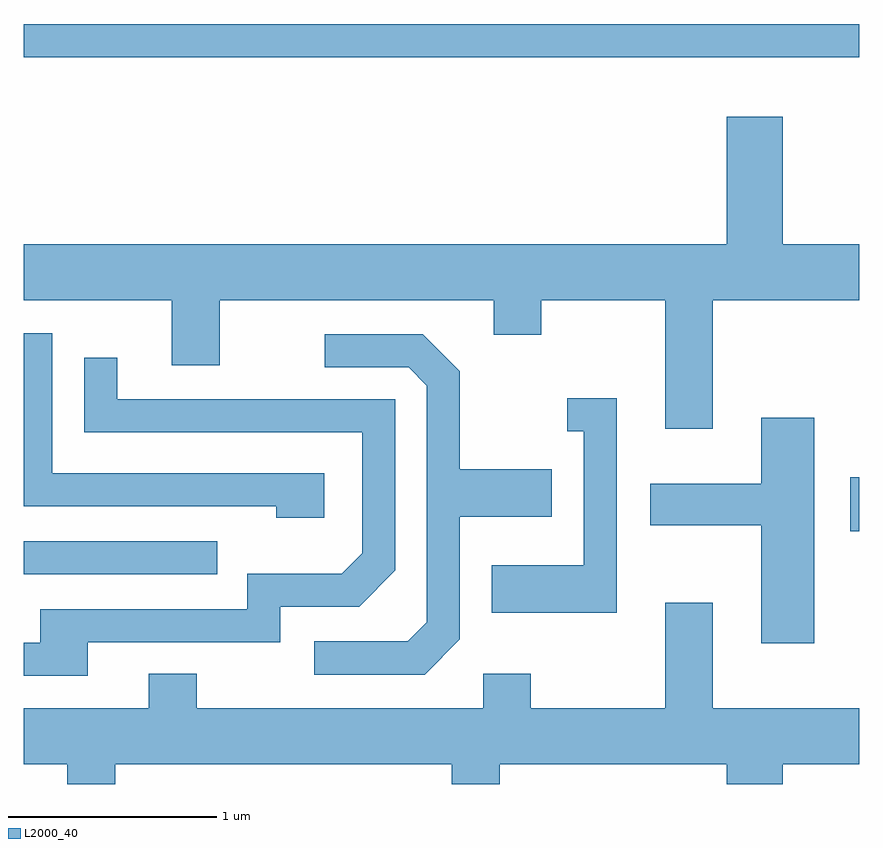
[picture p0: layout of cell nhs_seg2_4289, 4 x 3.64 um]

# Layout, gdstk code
import gdstk
lib = gdstk.Library(unit=1e-6, precision=1e-09)
def R(c, l, rs):  # rectangles x0, y0, x1, y1
    for r in rs: c.add(gdstk.rectangle(r[:2], r[2:], *l))
def P(c, l, *ps):  # polygons
    for p in ps: c.add(gdstk.Polygon(p, *l))
L2000_40 = (2000, 40)

nhs_seg2_4289 = lib.new_cell('nhs_seg2_4289')
R(nhs_seg2_4289, L2000_40, [(311.611,1024.806,312.538,1024.964), (315.566,1025.011,315.611,1025.269), (311.611,1027.281,315.611,1027.439)])
P(nhs_seg2_4289, L2000_40, [(314.909,1026.116),(315.611,1026.116),(315.611,1026.384),(315.244,1026.384),(315.244,1026.994),(314.976,1026.994),(314.976,1026.384),(311.611,1026.384),(311.611,1026.116),(312.321,1026.116),(312.321,1025.806),(312.549,1025.806),(312.549,1026.116),(313.861,1026.116),(313.861,1025.951),(314.089,1025.951),(314.089,1026.116),(314.681,1026.116),(314.681,1025.501),(314.909,1025.501)],
  [(313.049,1025.289),(311.749,1025.289),(311.749,1025.959),(311.611,1025.959),(311.611,1025.131),(312.821,1025.131),(312.821,1025.076),(313.049,1025.076)],
  [(313.699,1024.494),(313.699,1025.081),(314.139,1025.081),(314.139,1025.309),(313.699,1025.309),(313.699,1025.777),(313.522,1025.954),(313.053,1025.954),(313.053,1025.796),(313.454,1025.796),(313.541,1025.709),(313.541,1024.577),(313.449,1024.484),(313.003,1024.484),(313.003,1024.326),(313.532,1024.326)],
  [(311.919,1024.481),(312.839,1024.481),(312.839,1024.651),(313.217,1024.651),(313.389,1024.824),(313.389,1025.644),(312.059,1025.644),(312.059,1025.843),(311.901,1025.843),(311.901,1025.486),(313.231,1025.486),(313.231,1024.907),(313.134,1024.809),(312.681,1024.809),(312.681,1024.639),(311.691,1024.639),(311.691,1024.479),(311.611,1024.479),(311.611,1024.321),(311.919,1024.321)],
  [(314.449,1025.649),(314.213,1025.649),(314.213,1025.491),(314.291,1025.491),(314.291,1024.849),(313.851,1024.849),(313.851,1024.621),(314.449,1024.621)],
  [(315.394,1025.554),(315.141,1025.554),(315.141,1025.239),(314.611,1025.239),(314.611,1025.041),(315.141,1025.041),(315.141,1024.476),(315.394,1024.476)],
  [(312.049,1023.896),(313.661,1023.896),(313.661,1023.802),(313.889,1023.802),(313.889,1023.896),(314.976,1023.896),(314.976,1023.802),(315.244,1023.802),(315.244,1023.896),(315.611,1023.896),(315.611,1024.164),(314.909,1024.164),(314.909,1024.669),(314.681,1024.669),(314.681,1024.164),(314.039,1024.164),(314.039,1024.329),(313.811,1024.329),(313.811,1024.164),(312.439,1024.164),(312.439,1024.329),(312.211,1024.329),(312.211,1024.164),(311.611,1024.164),(311.611,1023.896),(311.821,1023.896),(311.821,1023.802),(312.049,1023.802)])

lib.write_gds('nhs_seg2_4289.gds')
